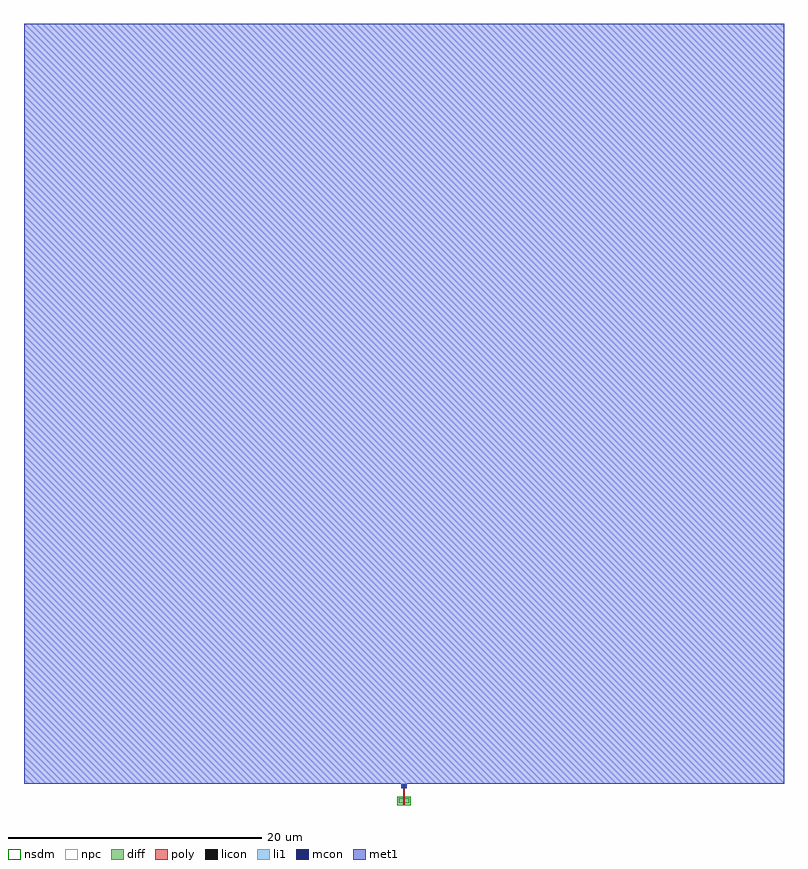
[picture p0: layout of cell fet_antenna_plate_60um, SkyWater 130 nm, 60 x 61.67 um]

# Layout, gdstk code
import gdstk
lib = gdstk.Library(unit=1e-6, precision=1e-09)
def R(c, l, rs):  # rectangles x0, y0, x1, y1
    for r in rs: c.add(gdstk.rectangle(r[:2], r[2:], *l))
diff = (65, 20)
poly = (66, 20)
licon = (66, 44)
li1 = (67, 20)
mcon = (67, 44)
met1 = (68, 20)
nsdm = (93, 44)
npc = (95, 20)

fet_antenna_plate_60um = lib.new_cell('fet_antenna_plate_60um')
R(fet_antenna_plate_60um, diff, [(-0.4,-0.21,0.4,0.21)])
R(fet_antenna_plate_60um, poly, [(-0.075,-0.34,0.075,1), (-0.165,1,0.165,1.33)])
R(fet_antenna_plate_60um, licon, [(-0.085,1.08,0.085,1.25)])
R(fet_antenna_plate_60um, li1, [(-0.165,1,0.165,1.33)])
R(fet_antenna_plate_60um, mcon, [(-0.085,1.08,0.085,1.25)])
R(fet_antenna_plate_60um, met1, [(-0.2,1,0.2,1.33), (-30,1.33,30,61.33)])
R(fet_antenna_plate_60um, nsdm, [(-0.525,-0.335,0.525,0.335)])
R(fet_antenna_plate_60um, npc, [(-0.185,0.98,0.185,1.35)])

lib.write_gds('fet_antenna_plate_60um.gds')
